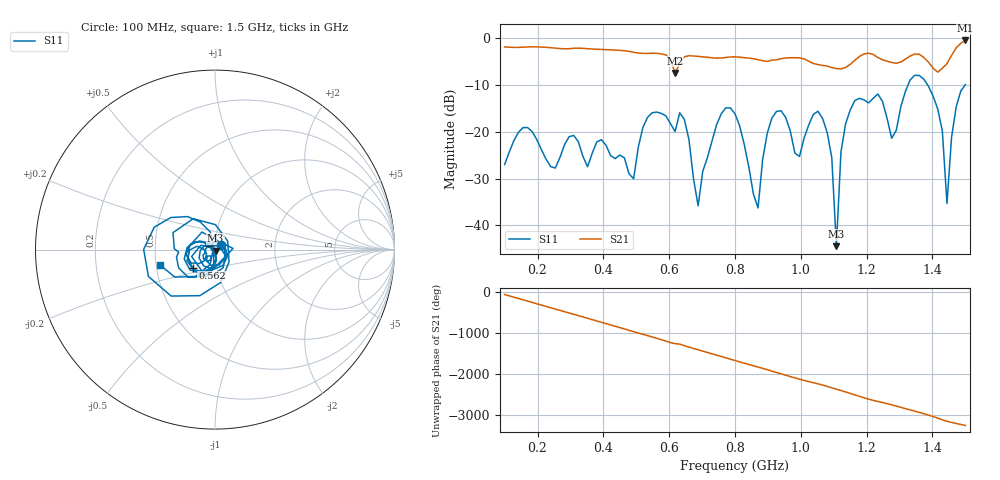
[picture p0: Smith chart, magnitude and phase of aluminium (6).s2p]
! NanoVNA-App
! Date: 2025-09-25 14:55:19
! Start: 100MHz Stop: 1,5GHz Points: 101
! S-Parameter data: F S11 S21 S12 S22
# Hz S RI R 50
!  Frequency  S11_Real  S11_Imag  S21_Real  S21_Imag  S12_Real  S12_Imag  S22_Real  S22_Imag
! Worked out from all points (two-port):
!   101 points, 100 MHz to 1.5 GHz, reference 50 ohm
!   highest |S21| = -0.54 dB at 1.5 GHz (marker M1); lowest = -7.4 dB at 618 MHz (marker M2)
!   |S21| within 3 dB of the highest: start of sweep to 584.6 MHz; 1.189 GHz to 1.22 GHz (31.37 MHz wide, 2.6 % of centre) (the widest 2 of 4)
!   lowest |S11| = -44.4 dB at 1.108 GHz (marker M3), VSWR 1.01, Z = 50.3 - j0.528 ohm
!   |S11| at or under -10 dB: start of sweep to 1.326 GHz; 1.385 GHz to 1.5 GHz (114.6 MHz wide, 7.95 % of centre)
!   S12 and S22 are empty: the file has one direction only
!   S11 on the Smith chart (normalised r, x): 100 MHz: 1.07, +0.06; 562 MHz: 0.76, -0.16; 1.5 GHz: 0.52, -0.10
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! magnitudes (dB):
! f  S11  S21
! 100 MHz  -27.0  -1.9
! 338 MHz  -25.3  -2.2
! 492 MHz  -30.1  -3.1
! 562 MHz  -15.8  -3.3
! 576 MHz  -16.1  -3.4
! 618 MHz  -20.0  -7.4
! 646 MHz  -17.3  -4.0
! 688 MHz  -35.8  -3.9
! 800 MHz  -16.2  -4.0
! 870 MHz  -36.3  -4.6
! 912 MHz  -17.1  -4.7
! 996 MHz  -25.3  -4.3
! 1.038 GHz  -16.3  -5.4
! 1.094 GHz  -25.5  -6.3
! 1.108 GHz  -44.4  -6.5
! 1.122 GHz  -24.3  -6.6
! 1.164 GHz  -13.4  -4.8
! 1.276 GHz  -21.4  -5.2
! 1.374 GHz  -8.8  -4.2
! 1.43 GHz  -19.9  -6.5
! 1.444 GHz  -35.3  -5.5
! 1.5 GHz  -10.0  -0.5
